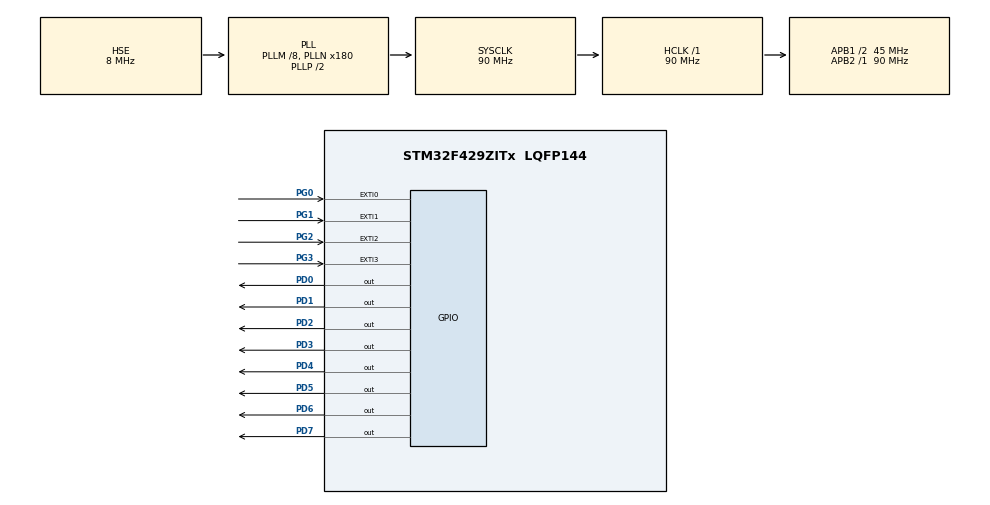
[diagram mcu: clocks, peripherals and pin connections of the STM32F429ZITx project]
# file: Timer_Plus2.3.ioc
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Mcu.Family=STM32F4
Mcu.Name=STM32F429ZITx
Mcu.Package=LQFP144
NVIC.EXTI0_IRQn=true\:0\:0\:false\:false\:true\:true\:true\:true
NVIC.EXTI1_IRQn=true\:0\:0\:false\:false\:true\:true\:true\:true
NVIC.EXTI2_IRQn=true\:0\:0\:false\:false\:true\:true\:true\:true
NVIC.EXTI3_IRQn=true\:0\:0\:false\:false\:true\:true\:true\:true
NVIC.PriorityGroup=NVIC_PRIORITYGROUP_4
NVIC.TIM2_IRQn=true\:0\:0\:false\:false\:true\:true\:true\:true
PA13.Mode=Serial_Wire
PA13.Signal=SYS_JTMS-SWDIO
PA14.Mode=Serial_Wire
PA14.Signal=SYS_JTCK-SWCLK
PD0.GPIO_ModeDefaultOutputPP=GPIO_MODE_OUTPUT_PP
PD0.GPIO_PuPd=GPIO_PULLUP
PD0.GPIO_Speed=GPIO_SPEED_FREQ_HIGH
PD0.PinState=GPIO_PIN_RESET
PD0.Signal=GPIO_Output
PD1.GPIO_ModeDefaultOutputPP=GPIO_MODE_OUTPUT_PP
PD1.GPIO_PuPd=GPIO_PULLUP
PD1.GPIO_Speed=GPIO_SPEED_FREQ_HIGH
PD1.PinState=GPIO_PIN_RESET
PD1.Signal=GPIO_Output
PD2.GPIO_ModeDefaultOutputPP=GPIO_MODE_OUTPUT_PP
PD2.GPIO_PuPd=GPIO_PULLUP
PD2.GPIO_Speed=GPIO_SPEED_FREQ_HIGH
PD2.PinState=GPIO_PIN_RESET
PD2.Signal=GPIO_Output
PD3.GPIO_ModeDefaultOutputPP=GPIO_MODE_OUTPUT_PP
PD3.GPIO_PuPd=GPIO_PULLUP
PD3.GPIO_Speed=GPIO_SPEED_FREQ_HIGH
PD3.PinState=GPIO_PIN_RESET
PD3.Signal=GPIO_Output
PD4.GPIO_ModeDefaultOutputPP=GPIO_MODE_OUTPUT_PP
PD4.GPIO_PuPd=GPIO_PULLUP
PD4.GPIO_Speed=GPIO_SPEED_FREQ_HIGH
PD4.PinState=GPIO_PIN_RESET
PD4.Signal=GPIO_Output
PD5.GPIO_ModeDefaultOutputPP=GPIO_MODE_OUTPUT_PP
PD5.GPIO_PuPd=GPIO_PULLUP
PD5.GPIO_Speed=GPIO_SPEED_FREQ_HIGH
PD5.PinState=GPIO_PIN_RESET
PD5.Signal=GPIO_Output
PD6.GPIO_ModeDefaultOutputPP=GPIO_MODE_OUTPUT_PP
PD6.GPIO_PuPd=GPIO_PULLUP
PD6.GPIO_Speed=GPIO_SPEED_FREQ_HIGH
PD6.PinState=GPIO_PIN_RESET
PD6.Signal=GPIO_Output
PD7.GPIO_ModeDefaultOutputPP=GPIO_MODE_OUTPUT_PP
PD7.GPIO_PuPd=GPIO_PULLUP
PD7.GPIO_Speed=GPIO_SPEED_FREQ_HIGH
PD7.PinState=GPIO_PIN_RESET
PD7.Signal=GPIO_Output
PG0.GPIO_ModeDefaultEXTI=GPIO_MODE_IT_FALLING
PG0.GPIO_PuPd=GPIO_NOPULL
PG0.Signal=GPXTI0
PG1.GPIO_ModeDefaultEXTI=GPIO_MODE_IT_FALLING
PG1.GPIO_PuPd=GPIO_NOPULL
PG1.Signal=GPXTI1
PG2.GPIO_ModeDefaultEXTI=GPIO_MODE_IT_FALLING
PG2.GPIO_PuPd=GPIO_NOPULL
PG2.Signal=GPXTI2
PG3.GPIO_ModeDefaultEXTI=GPIO_MODE_IT_FALLING
PG3.GPIO_PuPd=GPIO_NOPULL
PG3.Signal=GPXTI3
PH0/OSC_IN.Mode=HSE-External-Clock-Source
PH0/OSC_IN.Signal=RCC_OSC_IN
PH1/OSC_OUT.Mode=HSE-External-Clock-Source
PH1/OSC_OUT.Signal=RCC_OSC_OUT
ProjectManager.HeapSize=0x200
ProjectManager.StackSize=0x400
ProjectManager.TargetToolchain=STM32CubeIDE
RCC.48MHZClocksFreq_Value=45000000
RCC.AHBFreq_Value=90000000
RCC.APB1CLKDivider=RCC_HCLK_DIV2
RCC.APB1Freq_Value=45000000
RCC.APB1TimFreq_Value=90000000
RCC.APB2Freq_Value=90000000
RCC.APB2TimFreq_Value=90000000
RCC.CortexFreq_Value=90000000
RCC.HCLKFreq_Value=90000000
RCC.HSE_VALUE=8000000
RCC.HSI_VALUE=16000000
RCC.LSE_VALUE=32768
RCC.PLLM=8
RCC.PLLN=180
RCC.PLLSourceVirtual=RCC_PLLSOURCE_HSE
RCC.SYSCLKFreq_VALUE=90000000
RCC.SYSCLKSource=RCC_SYSCLKSOURCE_PLLCLK
RCC.VCOOutputFreq_Value=180000000
TIM2.Period=9999
TIM2.Prescaler=8999
VP_TIM2_VS_ClockSourceINT.Mode=Internal
board=custom

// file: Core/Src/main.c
/* USER CODE BEGIN Header */
/**
  ******************************************************************************
  * @file           : main.c
  * @brief          : Main program body
  ******************************************************************************
  * @attention
  *
  * Copyright (c) 2022 STMicroelectronics.
  * All rights reserved.
  *
  * This software is licensed under terms that can be found in the LICENSE file
  * in the root directory of this software component.
  * If no LICENSE file comes with this software, it is provided AS-IS.
  *
  ******************************************************************************
  */
/* USER CODE END Header */
#include "main.h"

TIM_HandleTypeDef htim2;

void SystemClock_Config(void);
static void MX_GPIO_Init(void);
static void MX_TIM2_Init(void);
/* USER CODE BEGIN PFP */
void LED_OnOff(int, int);
int speed = 0;
int count = 0;
int control = 0;
/* USER CODE END PFP */

int main(void)
{
  /* USER CODE BEGIN 1 */
	uint16_t led = 0x01;
  /* USER CODE END 1 */

  /* MCU Configuration--------------------------------------------------------*/

  /* Reset of all peripherals, Initializes the Flash interface and the Systick. */
  HAL_Init();

  /* Configure the system clock */
  SystemClock_Config();

  /* Initialize all configured peripherals */
  MX_GPIO_Init();
  MX_TIM2_Init();
  /* USER CODE BEGIN 2 */
  LED_OnOff(LED_ALL, 500);
  HAL_TIM_Base_Start_IT(&htim2);
  /* USER CODE END 2 */

  /* Infinite loop */
  /* USER CODE BEGIN WHILE */
  while (1)
  {
	  led<<=1;
	  if(led>0x80){
		  led=0x01;
		  count ++;
	  }
	  if (count % 2 == 0){
		  LED_OnOff(led, 300);
	  }
	  if (count % 2 == 1){
		  LED_OnOff(led, 50);
	  }
    /* USER CODE END WHILE */

  }
}

void SystemClock_Config(void)
{
  RCC_OscInitTypeDef RCC_OscInitStruct = {0};
  RCC_ClkInitTypeDef RCC_ClkInitStruct = {0};

  /** Configure the main internal regulator output voltage
  */
  __HAL_RCC_PWR_CLK_ENABLE();
  __HAL_PWR_VOLTAGESCALING_CONFIG(PWR_REGULATOR_VOLTAGE_SCALE3);

  /** Initializes the RCC Oscillators according to the specified parameters
  * in the RCC_OscInitTypeDef structure.
  */
  RCC_OscInitStruct.OscillatorType = RCC_OSCILLATORTYPE_HSE;
  RCC_OscInitStruct.HSEState = RCC_HSE_BYPASS;
  RCC_OscInitStruct.PLL.PLLState = RCC_PLL_ON;
  RCC_OscInitStruct.PLL.PLLSource = RCC_PLLSOURCE_HSE;
  RCC_OscInitStruct.PLL.PLLM = 8;
  RCC_OscInitStruct.PLL.PLLN = 180;
  RCC_OscInitStruct.PLL.PLLP = RCC_PLLP_DIV2;
  RCC_OscInitStruct.PLL.PLLQ = 4;
  if (HAL_RCC_OscConfig(&RCC_OscInitStruct) != HAL_OK)
  {
    Error_Handler();
  }

  /** Activate the Over-Drive mode
  */
  if (HAL_PWREx_EnableOverDrive() != HAL_OK)
  {
    Error_Handler();
  }

  /** Initializes the CPU, AHB and APB buses clocks
  */
  RCC_ClkInitStruct.ClockType = RCC_CLOCKTYPE_HCLK|RCC_CLOCKTYPE_SYSCLK
                              |RCC_CLOCKTYPE_PCLK1|RCC_CLOCKTYPE_PCLK2;
  RCC_ClkInitStruct.SYSCLKSource = RCC_SYSCLKSOURCE_PLLCLK;
  RCC_ClkInitStruct.AHBCLKDivider = RCC_SYSCLK_DIV1;
  RCC_ClkInitStruct.APB1CLKDivider = RCC_HCLK_DIV2;
  RCC_ClkInitStruct.APB2CLKDivider = RCC_HCLK_DIV1;

  if (HAL_RCC_ClockConfig(&RCC_ClkInitStruct, FLASH_LATENCY_2) != HAL_OK)
  {
    Error_Handler();
  }
}

static void MX_TIM2_Init(void)
{

  TIM_ClockConfigTypeDef sClockSourceConfig = {0};
  TIM_MasterConfigTypeDef sMasterConfig = {0};

  htim2.Instance = TIM2;
  htim2.Init.Prescaler = 8999;
  htim2.Init.CounterMode = TIM_COUNTERMODE_UP;
  htim2.Init.Period = 9999;
  htim2.Init.ClockDivision = TIM_CLOCKDIVISION_DIV1;
  htim2.Init.AutoReloadPreload = TIM_AUTORELOAD_PRELOAD_DISABLE;
  if (HAL_TIM_Base_Init(&htim2) != HAL_OK)
  {
    Error_Handler();
  }
  sClockSourceConfig.ClockSource = TIM_CLOCKSOURCE_INTERNAL;
  if (HAL_TIM_ConfigClockSource(&htim2, &sClockSourceConfig) != HAL_OK)
  {
    Error_Handler();
  }
  sMasterConfig.MasterOutputTrigger = TIM_TRGO_RESET;
  sMasterConfig.MasterSlaveMode = TIM_MASTERSLAVEMODE_DISABLE;
  if (HAL_TIMEx_MasterConfigSynchronization(&htim2, &sMasterConfig) != HAL_OK)
  {
    Error_Handler();
  }

}

static void MX_GPIO_Init(void)
{
  GPIO_InitTypeDef GPIO_InitStruct = {0};

  /* GPIO Ports Clock Enable */
  __HAL_RCC_GPIOH_CLK_ENABLE();
  __HAL_RCC_GPIOG_CLK_ENABLE();
  __HAL_RCC_GPIOA_CLK_ENABLE();
  __HAL_RCC_GPIOD_CLK_ENABLE();

  /*Configure GPIO pin Output Level */
  HAL_GPIO_WritePin(GPIOD, GPIO_PIN_0|GPIO_PIN_1|GPIO_PIN_2|GPIO_PIN_3
                          |GPIO_PIN_4|GPIO_PIN_5|GPIO_PIN_6|GPIO_PIN_7, GPIO_PIN_RESET);

  /*Configure GPIO pins : PG0 PG1 PG2 PG3 */
  GPIO_InitStruct.Pin = GPIO_PIN_0|GPIO_PIN_1|GPIO_PIN_2|GPIO_PIN_3;
  GPIO_InitStruct.Mode = GPIO_MODE_IT_FALLING;
  GPIO_InitStruct.Pull = GPIO_NOPULL;
  HAL_GPIO_Init(GPIOG, &GPIO_InitStruct);

  /*Configure GPIO pins : PD0 PD1 PD2 PD3
                           PD4 PD5 PD6 PD7 */
  GPIO_InitStruct.Pin = GPIO_PIN_0|GPIO_PIN_1|GPIO_PIN_2|GPIO_PIN_3
                          |GPIO_PIN_4|GPIO_PIN_5|GPIO_PIN_6|GPIO_PIN_7;
  GPIO_InitStruct.Mode = GPIO_MODE_OUTPUT_PP;
  GPIO_InitStruct.Pull = GPIO_PULLUP;
  GPIO_InitStruct.Speed = GPIO_SPEED_FREQ_HIGH;
  HAL_GPIO_Init(GPIOD, &GPIO_InitStruct);

  /* EXTI interrupt init*/
  HAL_NVIC_SetPriority(EXTI0_IRQn, 0, 0);
  HAL_NVIC_EnableIRQ(EXTI0_IRQn);

  HAL_NVIC_SetPriority(EXTI1_IRQn, 0, 0);
  HAL_NVIC_EnableIRQ(EXTI1_IRQn);

  HAL_NVIC_SetPriority(EXTI2_IRQn, 0, 0);
  HAL_NVIC_EnableIRQ(EXTI2_IRQn);

  HAL_NVIC_SetPriority(EXTI3_IRQn, 0, 0);
  HAL_NVIC_EnableIRQ(EXTI3_IRQn);

}

/* USER CODE BEGIN 4 */
void LED_OnOff(int led, int interval){
   HAL_GPIO_WritePin(GPIO_LED, led, GPIO_PIN_SET);
   HAL_GPIO_WritePin(GPIO_LED_Nucleo, led, GPIO_PIN_SET);

   HAL_Delay(interval);

   HAL_GPIO_WritePin(GPIO_LED, led, GPIO_PIN_RESET);
   HAL_GPIO_WritePin(GPIO_LED_Nucleo, led, GPIO_PIN_RESET);
}
void HAL_TIM_PeriodElapsedCallback(TIM_HandleTypeDef *htim)
{
	if (htim -> Instance == TIM2) {
		speed++;
	}
}
/* USER CODE END 4 */

void Error_Handler(void)
{
  __disable_irq();
  while (1)
  {
  }
}
